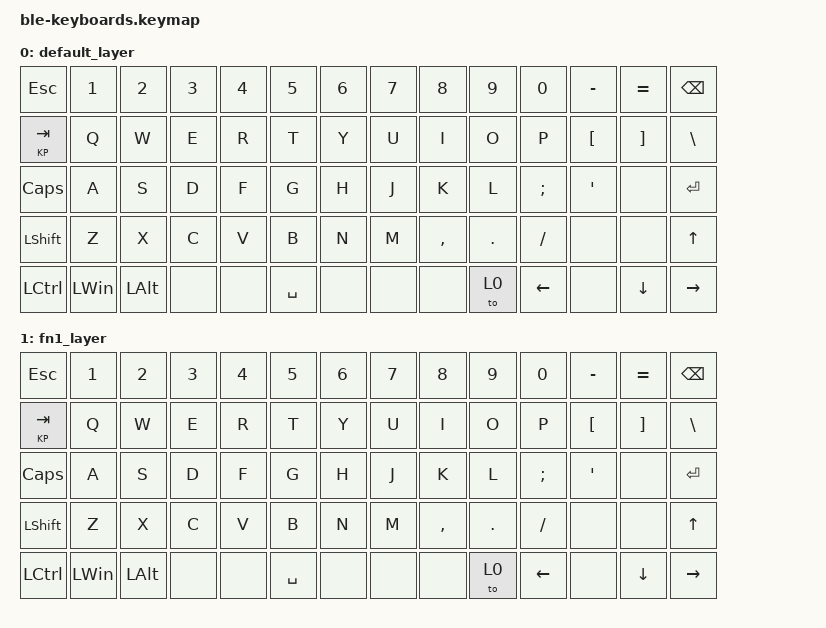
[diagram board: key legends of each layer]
/*
 * Copyright (c) 2020 The ZMK Contributors
 *
 * SPDX-License-Identifier: MIT
 */

#include <behaviors.dtsi>
#include <dt-bindings/zmk/bt.h>
#include <dt-bindings/zmk/keys.h>

/ {  
    keymap0: keymap {
        compatible = "zmk,keymap";

        default_layer {
            bindings = <
&kp ESC    &kp N1     &kp N2    &kp N3     &kp N4  &kp N5    &kp N6     &kp N7  &kp N8     &kp N9      &kp N0    &kp MINUS   &kp EQUAL   &kp BSPC
&KP TAB    &kp Q      &kp W     &kp E      &kp R   &kp T     &kp Y      &kp U   &kp I      &kp O       &kp P     &kp LBKT    &kp RBKT    &kp BSLH
&kp CLCK   &kp A      &kp S     &kp D      &kp F   &kp G     &kp H      &kp J   &kp K      &kp L       &kp SEMI  &kp APOS    &none       &kp ENTER
&kp LSHFT  &kp Z      &kp X     &kp C      &kp V   &kp B     &kp N      &kp M   &kp COMMA  &kp DOT     &kp FSLH  &none       &none       &kp UP
&kp LCTRL   &kp LWIN  &kp LALT  &none      &none   &kp SPACE &none      &none   &none      &to 0       &kp LEFT  &none       &kp DOWN    &kp RIGHT  
            >;
        };

        fn1_layer {
            bindings = <
&kp ESC    &kp N1     &kp N2    &kp N3     &kp N4  &kp N5    &kp N6     &kp N7  &kp N8     &kp N9      &kp N0    &kp MINUS   &kp EQUAL   &kp BSPC
&KP TAB    &kp Q      &kp W     &kp E      &kp R   &kp T     &kp Y      &kp U   &kp I      &kp O       &kp P     &kp LBKT    &kp RBKT    &kp BSLH
&kp CLCK   &kp A      &kp S     &kp D      &kp F   &kp G     &kp H      &kp J   &kp K      &kp L       &kp SEMI  &kp APOS    &none       &kp ENTER
&kp LSHFT  &kp Z      &kp X     &kp C      &kp V   &kp B     &kp N      &kp M   &kp COMMA  &kp DOT     &kp FSLH  &none       &none       &kp UP
&kp LCTRL   &kp LWIN  &kp LALT  &none      &none   &kp SPACE &none      &none   &none      &to 0       &kp LEFT  &none       &kp DOWN    &kp RIGHT  
            >;
        };        
    };
};
